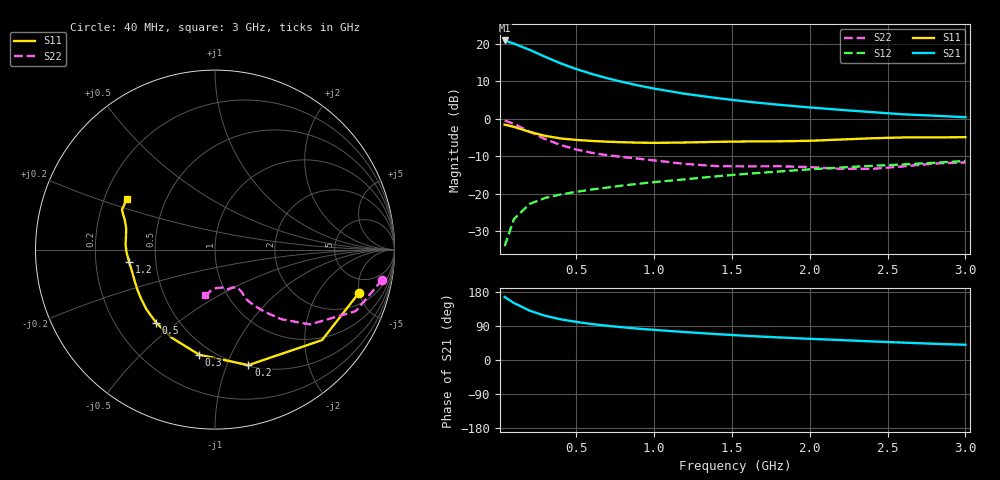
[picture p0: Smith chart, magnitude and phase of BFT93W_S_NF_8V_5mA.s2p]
! Filename:  BFT93WE.S2P  Version:  4.0
! Philips part #: BFT93W  Date: Jun 1994
! Bias condition: Vce=8V, Ic=5mA
#  MHz  S  MA  R  50
! Freq  S11  S21  S12  S22  !GUM [dB]
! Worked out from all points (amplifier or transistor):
!   21 points, 40 MHz to 3 GHz, reference 50 ohm
!   highest |S21| = 20.9 dB at 40 MHz (marker M1)
!   |S21| within 3 dB of that: start of sweep to 227.4 MHz
!   unconditionally stable (mu >= 1): 938.7 MHz to end of sweep
!   at 300 MHz: K = 0.48, MSG = 18.8 dB, |S12| = -21.1 dB
!   at 1 GHz: K = 1.03, MAG = 11.4 dB, |S12| = -16.9 dB
!   at 3 GHz: K = 1.15, MAG = 3.5 dB, |S12| = -11.2 dB
!   lowest NFmin = 2.00 dB at 500 MHz
!   S11 on the Smith chart (normalised r, x): 40 MHz: 3.05, -4.94; 200 MHz: 0.51, -1.20; 300 MHz: 0.43, -0.77; 500 MHz: 0.38, -0.42; 1.2 GHz: 0.35, -0.06; 3 GHz: 0.29, +0.25
40  0.837 -16.8  11.1 166.4  0.02 80.4  0.947 -10.2
100  0.781 -40.2  10.06 150.4  0.046 67.6  0.856 -23.6
200  0.67 -73.9  8.331 130.4  0.073 54.7  0.674 -38.2
300  0.592 -98.6  6.727 116.7  0.088 48.3  0.537 -46.3
400  0.547 -116.1  5.49 107.3  0.098 45.8  0.447 -51.2
500  0.523 -128.7  4.616 100.5  0.106 45.2  0.389 -54.5
600  0.507 -138.6  3.971 94.9  0.114 45.6  0.352 -56.5
700  0.495 -146.1  3.476 90.3  0.121 46.4  0.327 -57.6
800  0.487 -152.5  3.094 86.3  0.129 47.3  0.309 -58.0
900  0.481 -158.1  2.782 82.6  0.136 48.2  0.294 -57.8
1000  0.478 -163.1  2.532 79.5  0.143 49.3  0.279 -57.8
1200  0.483 -171.8  2.155 73.7  0.156 51.0  0.25 -59.2
1400  0.493 -178.2  1.895 68.4  0.171 52.4  0.234 -63.8
1600  0.499 176.9  1.694 63.6  0.185 53.2  0.232 -69.2
1800  0.501 172.0  1.541 59.6  0.198 54.4  0.233 -71.8
2000  0.509 166.5  1.418 55.9  0.212 55.5  0.227 -74.1
2200  0.529 161.8  1.317 52.6  0.224 56.5  0.215 -79.5
2400  0.55 158.8  1.228 49.0  0.236 57.2  0.215 -88.7
2600  0.564 156.7  1.148 45.9  0.246 57.5  0.232 -96.4
2800  0.564 153.7  1.1 42.8  0.259 58.2  0.253 -100.1
3000  0.569 150.0  1.051 40.2  0.274 58.9  0.262 -102.7
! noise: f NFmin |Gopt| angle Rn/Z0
500  2  0.34  73  0.44
1000  2.5  0.38  105  0.36
